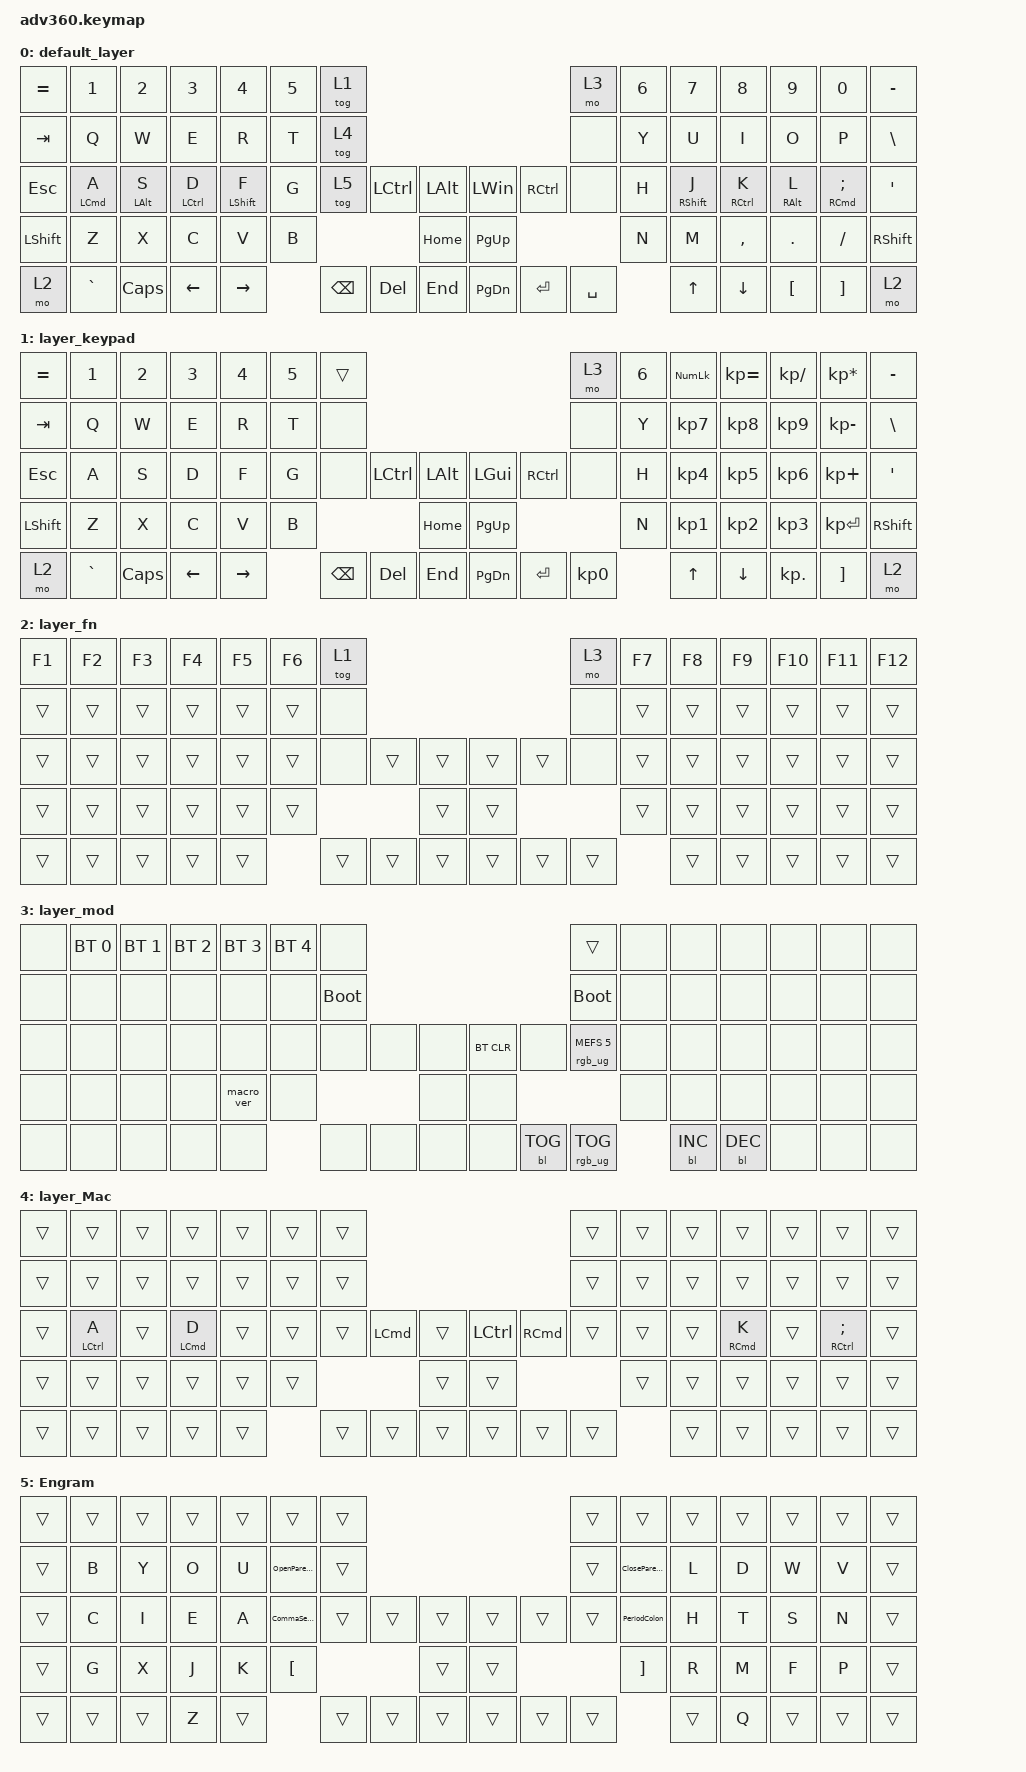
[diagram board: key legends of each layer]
/*
 * Copyright (c) 2020 The ZMK Contributors
 *
 * SPDX-License-Identifier: MIT
 */
/* THIS FILE WAS GENERATED!
 *
 * This file was generated automatically. You may or may not want to
 * edit it directly.
 */

#include <behaviors.dtsi>
#include <dt-bindings/zmk/backlight.h>
#include <dt-bindings/zmk/bt.h>
#include <dt-bindings/zmk/keys.h>
#include <dt-bindings/zmk/rgb.h>

/ {
    behaviors {
        #include "macros.dtsi"
    #include "version.dtsi"

        lhm: left_homerow_mods {
            compatible = "zmk,behavior-hold-tap";
            label = "LEFT_HOMEROW_MODS";
            #binding-cells = <2>;
            tapping-term-ms = <200>;
            quick_tap_ms = <175>;
            flavor = "tap-preferred";
            bindings = <&kp>, <&kp>;

            hold-trigger-key-positions = <7 8 9 10 11 12 13 21 22 23 24 25 26 27 38 39 40 41 42 43 44 45 54 55 56 57 58 59 69 70 71 72 73 74 75 37 53 68>;
        };

        rhm: right_homerow_mods {
            compatible = "zmk,behavior-hold-tap";
            label = "RIGHT_HOMEROW_MODS";
            #binding-cells = <2>;
            tapping-term-ms = <200>;
            quick_tap_ms = <175>;
            flavor = "tap-preferred";
            bindings = <&kp>, <&kp>;

            hold-trigger-key-positions = <0 1 2 3 4 5 6 14 15 16 17 18 19 20 28 29 30 31 32 33 34 35 36 46 47 48 49 50 51 52 60 61 62 63 64 65 66 67>;
        };

        OpenParenLessThan: OpenParenLessThan {
            compatible = "zmk,behavior-mod-morph";
            label = "OPENPARENLESSTHAN";
            bindings = <&kp LEFT_PARENTHESIS>, <&kp LESS_THAN>;

            #binding-cells = <0>;
            mods = <(MOD_LSFT|MOD_RSFT)>;
        };

        CloseParenGreaterThan: CloseParenGreaterThan {
            compatible = "zmk,behavior-mod-morph";
            label = "CLOSEPARENGREATERTHAN";
            bindings = <&kp RIGHT_PARENTHESIS>, <&kp GREATER_THAN>;

            #binding-cells = <0>;
            mods = <(MOD_LSFT|MOD_RSFT)>;
        };

        CommaSemicolon: CommaSemicolon {
            compatible = "zmk,behavior-mod-morph";
            label = "COMMASEMICOLON";
            bindings = <&kp COMMA>, <&kp SEMICOLON>;

            #binding-cells = <0>;
            mods = <(MOD_LSFT|MOD_RSFT)>;
        };

        PeriodColon: PeriodColon {
            compatible = "zmk,behavior-mod-morph";
            label = "PERIODCOLON";
            bindings = <&kp PERIOD>, <&kp SEMICOLON>;

            #binding-cells = <0>;
            mods = <(MOD_LSFT|MOD_RSFT)>;
        };
    };

    keymap {
        compatible = "zmk,keymap";

        default_layer {
            bindings = <
&kp EQUAL  &kp N1       &kp N2       &kp N3        &kp N4        &kp N5  &tog 1                                                      &mo 3      &kp N6  &kp N7         &kp N8        &kp N9       &kp N0               &kp MINUS
&kp TAB    &kp Q        &kp W        &kp E         &kp R         &kp T   &tog 4                                                      &none      &kp Y   &kp U          &kp I         &kp O        &kp P                &kp BSLH
&kp ESC    &lhm LCMD A  &lhm LALT S  &lhm LCTRL D  &lhm LSHFT F  &kp G   &tog 5    &kp LCTRL  &kp LALT      &kp LEFT_WIN  &kp RCTRL  &none      &kp H   &rhm RSHIFT J  &rhm RCTRL K  &rhm RALT L  &rhm RCMD SEMICOLON  &kp SQT
&kp LSHFT  &kp Z        &kp X        &kp C         &kp V         &kp B                        &kp HOME      &kp PG_UP                           &kp N   &kp M          &kp COMMA     &kp DOT      &kp FSLH             &kp RSHFT
&mo 2      &kp GRAVE    &kp CAPS     &kp LEFT      &kp RIGHT             &kp BSPC  &kp DEL    &kp END       &kp PG_DN     &kp ENTER  &kp SPACE          &kp UP         &kp DOWN      &kp LBKT     &kp RBKT             &mo 2
            >;
        };

        layer_keypad {
            bindings = <
&kp EQUAL  &kp N1     &kp N2    &kp N3    &kp N4     &kp N5  &trans                                                   &mo 3      &kp N6  &kp KP_NUM  &kp KP_EQUAL  &kp KP_DIVIDE  &kp KP_MULTIPLY  &kp MINUS
&kp TAB    &kp Q      &kp W     &kp E     &kp R      &kp T   &none                                                    &none      &kp Y   &kp KP_N7   &kp KP_N8     &kp KP_N9      &kp KP_MINUS     &kp BSLH
&kp ESC    &kp A      &kp S     &kp D     &kp F      &kp G   &none     &kp LCTRL  &kp LALT      &kp LGUI   &kp RCTRL  &none      &kp H   &kp KP_N4   &kp KP_N5     &kp KP_N6      &kp KP_PLUS      &kp SQT
&kp LSHFT  &kp Z      &kp X     &kp C     &kp V      &kp B                        &kp HOME      &kp PG_UP                        &kp N   &kp KP_N1   &kp KP_N2     &kp KP_N3      &kp KP_ENTER     &kp RSHFT
&mo 2      &kp GRAVE  &kp CAPS  &kp LEFT  &kp RIGHT          &kp BSPC  &kp DEL    &kp END       &kp PG_DN  &kp ENTER  &kp KP_N0          &kp UP      &kp DOWN      &kp KP_DOT     &kp RBKT         &mo 2
            >;
        };

        layer_fn {
            bindings = <
&kp F1  &kp F2  &kp F3  &kp F4  &kp F5  &kp F6  &tog 1                                      &mo 3   &kp F7  &kp F8  &kp F9  &kp F10  &kp F11  &kp F12
&trans  &trans  &trans  &trans  &trans  &trans  &none                                       &none   &trans  &trans  &trans  &trans   &trans   &trans
&trans  &trans  &trans  &trans  &trans  &trans  &none   &trans  &trans      &trans  &trans  &none   &trans  &trans  &trans  &trans   &trans   &trans
&trans  &trans  &trans  &trans  &trans  &trans                  &trans      &trans                  &trans  &trans  &trans  &trans   &trans   &trans
&trans  &trans  &trans  &trans  &trans          &trans  &trans  &trans      &trans  &trans  &trans          &trans  &trans  &trans   &trans   &trans
            >;
        };

        layer_mod {
            bindings = <
&none  &bt BT_SEL 0  &bt BT_SEL 1  &bt BT_SEL 2  &bt BT_SEL 3  &bt BT_SEL 4  &none                                                  &trans                  &none  &none       &none       &none  &none  &none
&none  &none         &none         &none         &none         &none         &bootloader                                            &bootloader             &none  &none       &none       &none  &none  &none
&none  &none         &none         &none         &none         &none         &none        &none  &none      &bt BT_CLR  &none       &rgb_ug RGB_MEFS_CMD 5  &none  &none       &none       &none  &none  &none
&none  &none         &none         &none         &macro_ver    &none                             &none      &none                                           &none  &none       &none       &none  &none  &none
&none  &none         &none         &none         &none                       &none        &none  &none      &none       &bl BL_TOG  &rgb_ug RGB_TOG                &bl BL_INC  &bl BL_DEC  &none  &none  &none
            >;
        };

        layer_Mac {
            bindings = <
&trans  &trans        &trans  &trans       &trans  &trans  &trans                                                                     &trans  &trans  &trans  &trans       &trans  &trans                &trans
&trans  &trans        &trans  &trans       &trans  &trans  &trans                                                                     &trans  &trans  &trans  &trans       &trans  &trans                &trans
&trans  &lhm LCTRL A  &trans  &lhm LCMD D  &trans  &trans  &trans  &kp LEFT_COMMAND  &trans      &kp LEFT_CONTROL  &kp RIGHT_COMMAND  &trans  &trans  &trans  &rhm RCMD K  &trans  &rhm RCTRL SEMICOLON  &trans
&trans  &trans        &trans  &trans       &trans  &trans                            &trans      &trans                                       &trans  &trans  &trans       &trans  &trans                &trans
&trans  &trans        &trans  &trans       &trans          &trans  &trans            &trans      &trans            &trans             &trans          &trans  &trans       &trans  &trans                &trans
            >;
        };

        Engram {
            bindings = <
&trans  &trans  &trans  &trans  &trans  &trans              &trans                                      &trans  &trans                  &trans  &trans  &trans  &trans  &trans
&trans  &kp B   &kp Y   &kp O   &kp U   &OpenParenLessThan  &trans                                      &trans  &CloseParenGreaterThan  &kp L   &kp D   &kp W   &kp V   &trans
&trans  &kp C   &kp I   &kp E   &kp A   &CommaSemicolon     &trans  &trans  &trans      &trans  &trans  &trans  &PeriodColon            &kp H   &kp T   &kp S   &kp N   &trans
&trans  &kp G   &kp X   &kp J   &kp K   &kp LEFT_BRACKET                    &trans      &trans                  &kp RIGHT_BRACKET       &kp R   &kp M   &kp F   &kp P   &trans
&trans  &trans  &trans  &kp Z   &trans                      &trans  &trans  &trans      &trans  &trans  &trans                          &trans  &kp Q   &trans  &trans  &trans
            >;
        };
    };
};
